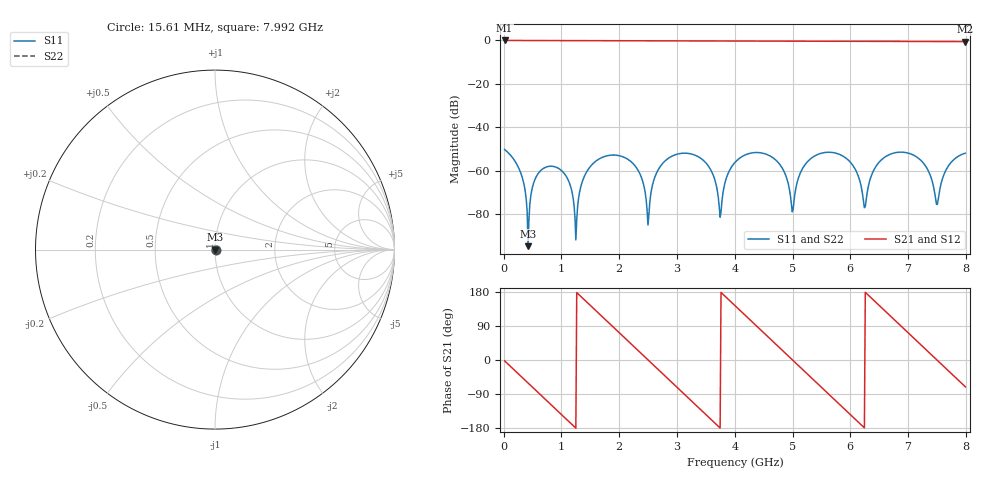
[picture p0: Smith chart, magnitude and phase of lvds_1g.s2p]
! SPIKE edited channel only; endpoint loading is reported separately.
! Request SHA256 dcf95fb66fa08db0f23a168af042b22487902626e37a7c4ccde33077b519fbd0
! Ports use the explicit edited network order.
# Hz S RI R 100
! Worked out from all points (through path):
!   512 points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, 15.61 MHz to 7.992 GHz, reference 100 ohm
!   highest |S21| = -0.03 dB at 15.61 MHz (marker M1); lowest = -0.6 dB at 7.992 GHz (marker M2)
!   group delay of S21, straight-line fit = 400 ps
!   lowest |S11| = -94.8 dB at 421.5 MHz (marker M3), VSWR 1.00, Z = 100 - j0.00317 ohm
!   |S11| at or under -10 dB: start of sweep to end of sweep
!   |S22| runs from -94.8 to -50.3 dB; largest |S21 - S12| = 4.2e-15
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1.560976e7  0.00307 -0.00012  0.9959 -0.0391  0.9959 -0.0391  0.00307 -0.00012
4.214634e8  8.94e-06 -1.58e-05  0.4864 -0.8664  0.4864 -0.8664  8.94e-06 -1.58e-05
7.180488e8  0.000266 0.00115  -0.2297 -0.9644  -0.2297 -0.9644  0.000266 0.00115
1.061463e9  0.000713 0.00039  -0.8799 -0.4512  -0.8799 -0.4512  0.000713 0.00039
1.24878e9  5.81e-06 2.47e-05  -0.9875 -0.00302  -0.9875 -0.00302  5.81e-06 2.47e-05
1.358049e9  -0.000519 0.00017  -0.9505 0.2647  -0.9505 0.2647  -0.000519 0.00017
1.966829e9  0.000497 0.00219  0.2247 0.9561  0.2247 0.9561  0.000497 0.00219
2.325854e9  0.000902 0.000476  0.8872 0.4151  0.8872 0.4151  0.000902 0.000476
2.497561e9  1.44e-05 5.38e-05  0.9782 0.00598  0.9782 0.00598  1.44e-05 5.38e-05
2.684878e9  -0.000967 0.000538  0.8733 -0.4377  0.8733 -0.4377  -0.000967 0.000538
3.387317e9  0.00119 0.00163  -0.5952 -0.768  -0.5952 -0.768  0.00119 0.00163
3.746341e9  2.26e-05 8.14e-05  -0.969 -0.00888  -0.969 -0.00888  2.26e-05 8.14e-05
4.011707e9  -0.00122 0.00102  -0.7653 0.5912  -0.7653 0.5912  -0.00122 0.00102
4.667317e9  0.00125 0.0015  0.6451 0.7141  0.6451 0.7141  0.00125 0.0015
4.995122e9  3.05e-05 0.000108  0.9599 0.0117  0.9599 0.0117  3.05e-05 0.000108
5.338537e9  -0.00126 0.00154  0.6313 -0.7199  0.6313 -0.7199  -0.00126 0.00154
5.947317e9  0.00126 0.00133  -0.6904 -0.6571  -0.6904 -0.6571  0.00126 0.00133
6.243902e9  3.82e-05 0.000134  -0.9509 -0.0145  -0.9509 -0.0145  3.82e-05 0.000134
6.665366e9  -0.0011 0.00202  -0.4766 0.8194  -0.4766 0.8194  -0.0011 0.00202
7.211707e9  0.00124 0.00126  0.7069 0.6257  0.7069 0.6257  0.00124 0.00126
7.492683e9  4.55e-05 0.00016  0.9419 0.0173  0.9419 0.0173  4.55e-05 0.00016
7.992195e9  -0.000782 0.0024  0.3074 -0.8867  0.3074 -0.8867  -0.000782 0.0024
